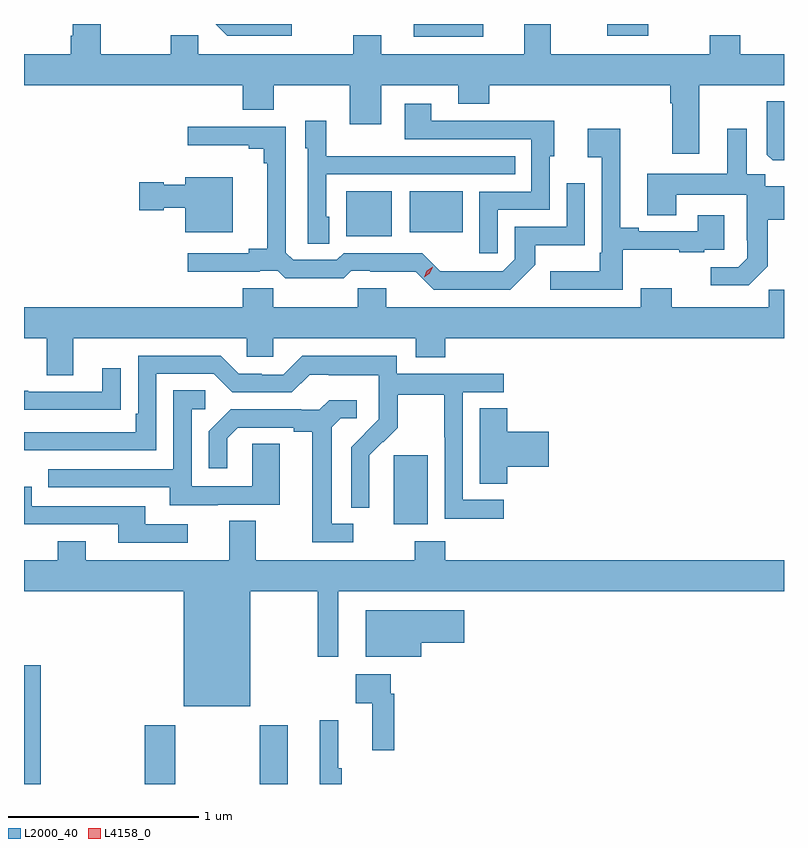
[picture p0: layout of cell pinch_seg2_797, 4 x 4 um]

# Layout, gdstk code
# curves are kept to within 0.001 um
import gdstk
lib = gdstk.Library(unit=1e-6, precision=1e-09)
def R(c, l, rs):  # rectangles x0, y0, x1, y1
    for r in rs: c.add(gdstk.rectangle(r[:2], r[2:], *l))
def P(c, l, *ps):  # polygons
    for p in ps: c.add(gdstk.Polygon(p, *l))
L2000_40 = (2000, 40)
L4158_0 = (4158, 0)

pinch_seg2_797 = lib.new_cell('pinch_seg2_797')
R(pinch_seg2_797, L2000_40, [(638.034,618.65,638.123,619.276), (638.669,618.65,638.829,618.958), (639.274,618.65,639.421,618.958), (639.98,620.018,640.159,620.379), (639.731,621.533,639.97,621.769), (640.064,621.554,640.342,621.769), (640.085,622.584,640.45,622.65), (641.105,622.587,641.32,622.65)])
P(pinch_seg2_797, L2000_40, [(639.442,622.65),(639.042,622.65),(639.105,622.587),(639.442,622.587)],
  [(641.435,622.232),(641.447,622.232),(641.447,621.966),(641.587,621.966),(641.587,622.328),(642.034,622.328),(642.034,622.492),(641.804,622.492),(641.804,622.591),(641.644,622.591),(641.644,622.492),(640.807,622.492),(640.807,622.65),(640.667,622.65),(640.667,622.492),(639.913,622.492),(639.913,622.591),(639.766,622.591),(639.766,622.492),(638.952,622.492),(638.952,622.591),(638.806,622.591),(638.806,622.492),(638.439,622.492),(638.439,622.65),(638.291,622.65),(638.291,622.588),(638.279,622.588),(638.279,622.492),(638.034,622.492),(638.034,622.328),(639.185,622.328),(639.185,622.2),(639.349,622.2),(639.349,622.328),(639.749,622.328),(639.749,622.122),(639.913,622.122),(639.913,622.328),(640.319,622.328),(640.319,622.229),(640.483,622.229),(640.483,622.328),(641.435,622.328)],
  [(642.034,622.243),(641.943,622.243),(641.943,621.963),(641.975,621.932),(642.034,621.932)],
  [(640.527,621.672),(640.8,621.672),(640.8,621.954),(640.825,621.954),(640.825,622.142),(640.607,622.142),(640.607,622.14),(640.177,622.14),(640.177,622.231),(640.037,622.231),(640.037,622.044),(640.704,622.044),(640.704,621.768),(640.431,621.768),(640.431,621.444),(640.527,621.444)],
  [(639.64,621.636),(639.624,621.636),(639.624,621.858),(640.619,621.858),(640.619,621.954),(639.941,621.954),(639.941,621.955),(639.624,621.955),(639.624,622.141),(639.515,622.141),(639.515,621.996),(639.528,621.996),(639.528,621.493),(639.64,621.493)],
  [(640.725,621.383),(640.725,621.485),(640.986,621.485),(640.986,621.811),(640.89,621.811),(640.89,621.582),(640.617,621.582),(640.617,621.411),(640.554,621.348),(640.33,621.348),(640.33,621.35),(640.226,621.35),(640.131,621.444),(639.717,621.444),(639.681,621.408),(639.45,621.408),(639.411,621.447),(639.411,622.11),(638.895,622.11),(638.895,622.013),(639.218,622.013),(639.218,621.994),(639.295,621.994),(639.295,621.917),(639.314,621.917),(639.314,621.467),(639.218,621.467),(639.218,621.444),(638.895,621.444),(638.895,621.347),(639.275,621.347),(639.275,621.351),(639.369,621.351),(639.409,621.312),(639.717,621.312),(639.756,621.351),(639.856,621.351),(639.856,621.347),(640.097,621.347),(640.191,621.252),(640.594,621.252)],
  [(641.949,621.375),(641.949,621.621),(642.034,621.621),(642.034,621.796),(641.934,621.796),(641.934,621.86),(641.839,621.86),(641.839,622.099),(641.735,622.099),(641.735,621.862),(641.315,621.862),(641.315,621.643),(641.467,621.643),(641.467,621.752),(641.838,621.752),(641.838,621.511),(641.84,621.511),(641.84,621.416),(641.793,621.369),(641.649,621.369),(641.649,621.275),(641.849,621.275)],
  [(641.185,621.461),(641.483,621.461),(641.483,621.45),(641.615,621.45),(641.615,621.462),(641.719,621.462),(641.719,621.643),(641.579,621.643),(641.579,621.558),(641.269,621.558),(641.269,621.577),(641.173,621.577),(641.173,622.099),(641.001,622.099),(641.001,621.95),(641.076,621.95),(641.076,621.445),(641.064,621.445),(641.064,621.349),(640.803,621.349),(640.803,621.252),(641.185,621.252)],
  [(639.133,621.844),(638.882,621.844),(638.882,621.805),(638.769,621.805),(638.769,621.818),(638.64,621.818),(638.64,621.671),(638.769,621.671),(638.769,621.683),(638.882,621.683),(638.882,621.554),(639.133,621.554)],
  [(638.293,620.996),(639.207,620.996),(639.207,620.898),(639.345,620.898),(639.345,620.996),(640.097,620.996),(640.097,620.897),(640.25,620.897),(640.25,620.996),(642.034,620.996),(642.034,621.251),(641.953,621.251),(641.953,621.16),(641.443,621.16),(641.443,621.259),(641.279,621.259),(641.279,621.16),(639.94,621.16),(639.94,621.258),(639.79,621.258),(639.79,621.16),(639.345,621.16),(639.345,621.258),(639.185,621.258),(639.185,621.16),(638.034,621.16),(638.034,620.996),(638.153,620.996),(638.153,620.802),(638.293,620.802)],
  [(640.558,620.145),(640.344,620.145),(640.344,620.712),(640.558,620.712),(640.558,620.808),(639.996,620.808),(639.996,620.905),(639.499,620.905),(639.399,620.805),(639.284,620.805),(639.284,620.808),(639.165,620.808),(639.069,620.904),(638.634,620.904),(638.634,620.599),(638.621,620.599),(638.621,620.502),(638.034,620.502),(638.034,620.406),(638.73,620.406),(638.73,620.808),(639.033,620.808),(639.129,620.712),(639.444,620.712),(639.537,620.805),(639.637,620.805),(639.637,620.801),(639.9,620.801),(639.9,620.667),(639.902,620.667),(639.902,620.57),(639.756,620.422),(639.756,620.104),(639.852,620.104),(639.851,620.381),(639.921,620.451),(639.924,620.448),(640.001,620.525),(640.001,620.7),(640.246,620.7),(640.246,620.476),(640.248,620.476),(640.248,620.047),(640.558,620.047)],
  [(638.441,620.62),(638.543,620.62),(638.543,620.839),(638.447,620.839),(638.447,620.715),(638.057,620.715),(638.057,620.72),(638.034,620.72),(638.034,620.619),(638.441,620.619)],
  [(639.055,620.121),(639.379,620.121),(639.379,620.441),(639.234,620.441),(639.234,620.217),(638.916,620.217),(638.916,620.622),(638.989,620.622),(638.989,620.723),(638.82,620.723),(638.82,620.307),(638.161,620.307),(638.161,620.211),(638.801,620.211),(638.801,620.117),(639.055,620.117)],
  [(639.766,620.019),(639.655,620.019),(639.655,620.527),(639.702,620.574),(639.784,620.574),(639.784,620.671),(639.64,620.671),(639.588,620.619),(639.494,620.619),(639.494,620.622),(639.122,620.622),(639.006,620.506),(639.006,620.313),(639.103,620.313),(639.103,620.469),(639.16,620.526),(639.455,620.526),(639.455,620.504),(639.551,620.504),(639.551,619.923),(639.766,619.923)],
  [(640.577,620.321),(640.795,620.321),(640.795,620.504),(640.577,620.504),(640.577,620.627),(640.433,620.627),(640.433,620.23),(640.577,620.23)],
  [(638.896,620.016),(638.671,620.016),(638.671,620.112),(638.076,620.112),(638.076,620.215),(638.034,620.215),(638.034,620.016),(638.531,620.016),(638.531,619.92),(638.896,619.92)],
  [(639.113,619.828),(638.359,619.828),(638.359,619.927),(638.212,619.927),(638.212,619.828),(638.034,619.828),(638.034,619.664),(638.876,619.664),(638.876,619.058),(639.226,619.058),(639.226,619.664),(639.579,619.664),(639.579,619.32),(639.688,619.32),(639.688,619.664),(642.034,619.664),(642.034,619.828),(640.25,619.828),(640.25,619.927),(640.09,619.927),(640.09,619.828),(639.253,619.828),(639.253,620.036),(639.113,620.036)],
  [(640.126,619.394),(640.351,619.394),(640.351,619.564),(639.833,619.564),(639.833,619.319),(640.126,619.319)],
  [(639.983,619.124),(639.963,619.124),(639.963,619.228),(639.78,619.228),(639.78,619.076),(639.866,619.076),(639.866,618.828),(639.983,618.828)],
  [(639.707,618.732),(639.689,618.732),(639.689,618.985),(639.59,618.985),(639.59,618.65),(639.707,618.65)])
P(pinch_seg2_797, L4158_0, [(640.14,621.317),(640.14,621.318),(640.155,621.352),(640.186,621.373),(640.186,621.373),(640.186,621.373),(640.17,621.339),(640.14,621.317)])

lib.write_gds('pinch_seg2_797.gds')
